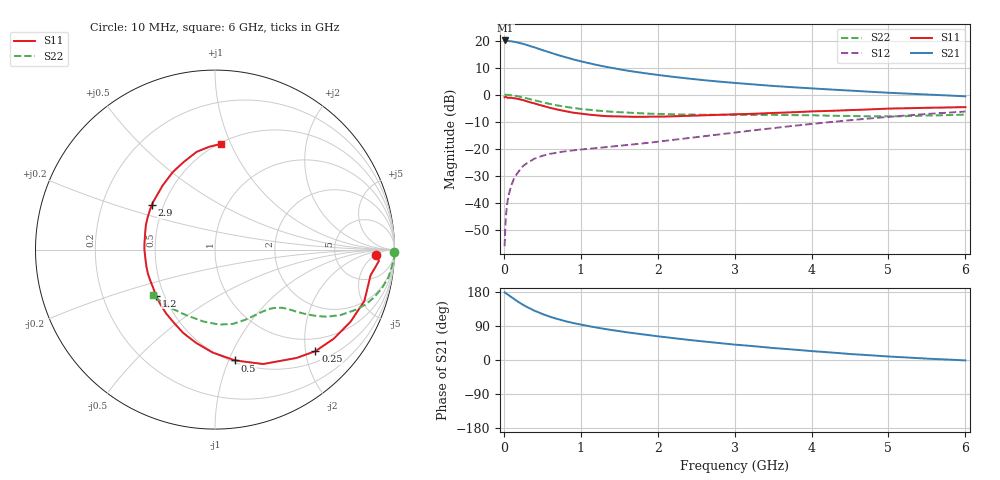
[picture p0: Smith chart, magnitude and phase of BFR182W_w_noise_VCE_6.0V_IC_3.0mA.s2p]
! Infineon Technologies  Discrete & RF Semiconductors
! BFR182W
! VCE =  6.0 V,  IC =  3.0 mA
! Common Emitter S-Parameters:  Jan 2017
# GHz  S  MA  R  50
!  f  S11  S21  S12  S22
! GHz  MAG  ANG  MAG  ANG  MAG  ANG  MAG  ANG
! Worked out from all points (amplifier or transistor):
!   77 points, 10 MHz to 6 GHz, reference 50 ohm
!   highest |S21| = 20.0 dB at 20 MHz (marker M1)
!   |S21| within 3 dB of that: start of sweep to 444.1 MHz
!   unconditionally stable (mu >= 1): 1.592 GHz to 3.014 GHz
!   at 130 MHz: K = 0.12, MSG = 25.4 dB, |S12| = -31.2 dB
!   at 2.2 GHz: K = 1.07, MAG = 10.0 dB, |S12| = -16.7 dB
!   at 6 GHz: K = 0.82, MSG = 2.8 dB, |S12| = -6.2 dB
!   lowest NFmin = 0.82 dB at 450 MHz
!   S11 on the Smith chart (normalised r, x): 10 MHz: 17, -6; 250 MHz: 0.71, -2.20; 500 MHz: 0.52, -1.05; 1.2 GHz: 0.45, -0.28; 2.9 GHz: 0.43, +0.26; 6 GHz: 0.51, +0.92
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0.01  0.8991 -2.0  9.906 178.5  0.0016 89.2  1 -0.9
0.02  0.9158 -3.9  10.04 177.2  0.0038 91.8  1 -2.0
0.06  0.8769 -11.2  9.817 171.4  0.0133 82.9  0.9897 -5.5
0.15  0.8557 -28.0  9.399 158.7  0.0317 74.0  0.9539 -13.1
0.2  0.8271 -36.9  9.059 151.9  0.0396 70.1  0.9249 -16.8
0.25  0.7958 -45.3  8.71 145.5  0.0484 66.3  0.892 -20.1
0.3  0.7557 -53.0  8.276 139.9  0.0544 62.4  0.8554 -23.0
0.4  0.6916 -67.2  7.473 129.8  0.0662 57.3  0.7879 -27.6
0.5  0.6272 -79.8  6.684 121.5  0.0745 53.2  0.7266 -31.0
0.6  0.5737 -91.3  6.017 114.2  0.0809 50.2  0.6752 -33.2
0.7  0.5309 -101.3  5.42 108.0  0.0855 48.6  0.6328 -34.9
0.8  0.4974 -110.8  4.936 102.5  0.0904 47.7  0.5989 -36.2
0.9  0.4668 -119.6  4.501 97.7  0.0938 46.7  0.5704 -37.3
1.1  0.4308 -135.0  3.839 89.6  0.1003 47.1  0.5288 -39.0
1.2  0.417 -142.0  3.57 85.8  0.1035 47.2  0.5114 -39.9
1.6  0.3937 -165.7  2.793 73.1  0.1177 50.6  0.4688 -43.8
2.1  0.3957 171.5  2.228 60.3  0.1411 55.1  0.4387 -50.9
2.9  0.43 145.0  1.698 42.7  0.1923 58.7  0.426 -65.1
3.1  0.4386 139.5  1.609 39.0  0.208 58.7  0.4248 -68.8
4.1  0.4964 116.6  1.284 22.1  0.2983 55.2  0.4142 -89.2
5.1  0.5576 99.1  1.071 8.1  0.3999 46.7  0.3997 -117.7
6  0.5906 86.6  0.935 -1.1  0.4891 36.9  0.4308 -143.6
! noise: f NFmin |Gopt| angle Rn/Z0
0.45  0.82  0.39  31  0.2
0.9  0.95  0.3  57  0.2
1.9  1.6  0.25  149  0.12
2.4  1.92  0.23  170  0.17
